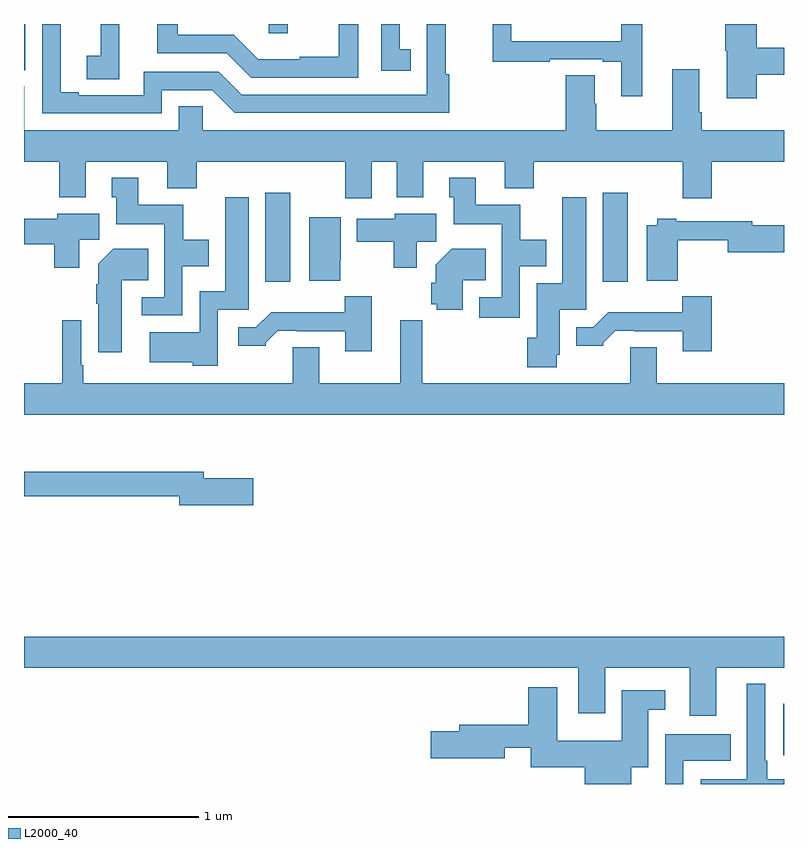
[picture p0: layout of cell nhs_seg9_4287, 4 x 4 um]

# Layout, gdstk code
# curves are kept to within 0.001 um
import gdstk
lib = gdstk.Library(unit=1e-6, precision=1e-09)
def R(c, l, rs):  # rectangles x0, y0, x1, y1
    for r in rs: c.add(gdstk.rectangle(r[:2], r[2:], *l))
def P(c, l, *ps):  # polygons
    for p in ps: c.add(gdstk.Polygon(p, *l))
L2000_40 = (2000, 40)

nhs_seg9_4287 = lib.new_cell('nhs_seg9_4287')
R(nhs_seg9_4287, L2000_40, [(360.995,1170.651,361,1170.922), (358.271,1173.144,358.402,1173.613), (360.047,1173.144,360.178,1173.613), (357,1174.257,357.006,1174.5), (358.287,1174.452,358.388,1174.5), (359.65,1174.499,360.043,1174.5)])
P(nhs_seg9_4287, L2000_40, [(358.758,1174.5),(358.657,1174.5),(358.657,1174.327),(358.451,1174.327),(358.451,1174.315),(358.232,1174.315),(358.104,1174.443),(357.808,1174.443),(357.808,1174.5),(357.701,1174.5),(357.701,1174.347),(358.068,1174.347),(358.197,1174.218),(358.758,1174.218)],
  [(357.726,1174.152),(357.99,1174.152),(358.11,1174.032),(359.237,1174.032),(359.237,1174.235),(359.22,1174.235),(359.22,1174.5),(359.12,1174.5),(359.121,1174.128),(358.146,1174.128),(358.026,1174.248),(357.63,1174.248),(357.63,1174.125),(357.289,1174.125),(357.289,1174.14),(357.193,1174.14),(357.193,1174.5),(357.096,1174.5),(357.096,1174.029),(357.726,1174.029)],
  [(360.253,1174.5),(360.144,1174.5),(360.144,1174.41),(359.565,1174.41),(359.565,1174.5),(359.467,1174.5),(359.467,1174.302),(359.768,1174.302),(359.768,1174.314),(360.047,1174.314),(360.047,1174.302),(360.143,1174.302),(360.143,1174.119),(360.253,1174.119)],
  [(360.857,1174.234),(361,1174.234),(361,1174.376),(360.857,1174.376),(360.857,1174.5),(360.691,1174.5),(360.691,1174.359),(360.698,1174.359),(360.698,1174.11),(360.857,1174.11)],
  [(357.5,1174.321),(357.502,1174.321),(357.502,1174.5),(357.404,1174.5),(357.404,1174.332),(357.33,1174.332),(357.33,1174.21),(357.5,1174.21)],
  [(359.036,1174.367),(358.978,1174.367),(358.978,1174.5),(358.881,1174.5),(358.881,1174.254),(359.036,1174.254)],
  [(358.831,1173.776),(358.961,1173.776),(358.961,1173.587),(359.101,1173.587),(359.101,1173.776),(359.531,1173.776),(359.531,1173.635),(359.684,1173.635),(359.684,1173.776),(360.467,1173.776),(360.467,1173.582),(360.62,1173.582),(360.62,1173.776),(361,1173.776),(361,1173.94),(360.566,1173.94),(360.566,1174.036),(360.553,1174.036),(360.553,1174.261),(360.413,1174.261),(360.413,1173.94),(360.012,1173.94),(360.012,1174.079),(360.004,1174.079),(360.004,1174.229),(359.852,1174.229),(359.852,1173.94),(357.942,1173.94),(357.942,1174.067),(357.815,1174.067),(357.815,1173.94),(357.001,1173.94),(357.001,1174.172),(357,1174.172),(357,1173.776),(357.185,1173.776),(357.185,1173.587),(357.325,1173.587),(357.325,1173.776),(357.755,1173.776),(357.755,1173.635),(357.908,1173.635),(357.908,1173.776),(358.691,1173.776),(358.691,1173.582),(358.831,1173.582)],
  [(357.834,1173.224),(357.973,1173.224),(357.973,1173.364),(357.837,1173.364),(357.837,1173.55),(357.601,1173.55),(357.601,1173.691),(357.461,1173.691),(357.461,1173.588),(357.485,1173.588),(357.485,1173.446),(357.738,1173.446),(357.738,1173.063),(357.621,1173.063),(357.621,1172.967),(357.834,1172.967)],
  [(359.61,1173.224),(359.749,1173.224),(359.749,1173.364),(359.613,1173.364),(359.613,1173.55),(359.377,1173.55),(359.377,1173.691),(359.237,1173.691),(359.237,1173.588),(359.261,1173.588),(359.261,1173.446),(359.514,1173.446),(359.514,1173.063),(359.397,1173.063),(359.397,1172.955),(359.61,1172.955)],
  [(359.805,1172.76),(359.821,1172.76),(359.821,1172.997),(359.959,1172.997),(359.959,1173.589),(359.834,1173.589),(359.834,1173.136),(359.699,1173.136),(359.699,1172.85),(359.648,1172.85),(359.648,1172.694),(359.805,1172.694)],
  [(358.02,1172.997),(358.183,1172.997),(358.183,1173.589),(358.058,1173.589),(358.058,1173.094),(357.924,1173.094),(357.924,1172.878),(357.663,1172.878),(357.663,1172.72),(357.888,1172.72),(357.888,1172.702),(358.02,1172.702)],
  [(357.292,1173.364),(357.397,1173.364),(357.397,1173.502),(357.174,1173.502),(357.174,1173.475),(357,1173.475),(357,1173.341),(357.158,1173.341),(357.158,1173.216),(357.292,1173.216)],
  [(359.068,1173.355),(359.17,1173.355),(359.17,1173.502),(358.95,1173.502),(358.95,1173.475),(358.751,1173.475),(358.751,1173.353),(358.946,1173.353),(358.946,1173.216),(359.068,1173.216)],
  [(358.664,1173.256),(358.666,1173.256),(358.666,1173.484),(358.502,1173.484),(358.502,1173.149),(358.664,1173.149)],
  [(360.44,1173.361),(360.704,1173.361),(360.704,1173.299),(361,1173.299),(361,1173.441),(360.832,1173.441),(360.832,1173.462),(360.433,1173.462),(360.433,1173.475),(360.333,1173.475),(360.333,1173.442),(360.278,1173.442),(360.278,1173.149),(360.44,1173.149)],
  [(357.514,1173.152),(357.653,1173.152),(357.653,1173.316),(357.47,1173.316),(357.392,1173.238),(357.392,1173.131),(357.38,1173.131),(357.38,1173.028),(357.392,1173.028),(357.392,1172.772),(357.514,1172.772)],
  [(359.308,1173.152),(359.429,1173.152),(359.429,1173.316),(359.252,1173.316),(359.168,1173.232),(359.168,1173.138),(359.143,1173.138),(359.143,1173.024),(359.172,1173.024),(359.172,1172.995),(359.308,1172.995)],
  [(358.831,1173.067),(358.689,1173.067),(358.689,1172.983),(358.3,1172.983),(358.221,1172.904),(358.128,1172.904),(358.128,1172.807),(358.272,1172.807),(358.272,1172.822),(358.336,1172.886),(358.435,1172.886),(358.435,1172.883),(358.691,1172.883),(358.691,1172.778),(358.831,1172.778)],
  [(360.62,1173.067),(360.465,1173.067),(360.465,1172.983),(360.076,1172.983),(359.997,1172.904),(359.906,1172.904),(359.906,1172.807),(360.048,1172.807),(360.048,1172.822),(360.112,1172.886),(360.211,1172.886),(360.211,1172.883),(360.467,1172.883),(360.467,1172.778),(360.62,1172.778)],
  [(361,1172.608),(360.331,1172.608),(360.331,1172.798),(360.191,1172.798),(360.191,1172.608),(359.096,1172.608),(359.096,1172.941),(358.979,1172.941),(358.979,1172.608),(358.555,1172.608),(358.555,1172.798),(358.415,1172.798),(358.415,1172.608),(357.313,1172.608),(357.313,1172.704),(357.3,1172.704),(357.3,1172.941),(357.202,1172.941),(357.202,1172.608),(357,1172.608),(357,1172.444),(361,1172.444)],
  [(358.207,1172.109),(357.946,1172.109),(357.946,1172.143),(357,1172.143),(357,1172.014),(357.818,1172.014),(357.818,1171.967),(358.207,1171.967)],
  [(360.643,1171.112),(361,1171.112),(361,1171.276),(357,1171.276),(357,1171.112),(359.918,1171.112),(359.918,1170.873),(360.058,1170.873),(360.058,1171.112),(360.503,1171.112),(360.503,1170.858),(360.643,1170.858)],
  [(361,1170.525),(360.913,1170.525),(360.913,1170.622),(360.9,1170.622),(360.9,1171.027),(360.804,1171.027),(360.804,1170.525),(360.561,1170.525),(360.561,1170.5),(361,1170.5)],
  [(360.196,1170.587),(360.286,1170.587),(360.286,1170.89),(360.376,1170.89),(360.376,1170.994),(360.146,1170.994),(360.146,1170.727),(359.806,1170.727),(359.806,1171.009),(359.654,1171.009),(359.654,1170.811),(359.291,1170.811),(359.291,1170.777),(359.142,1170.777),(359.142,1170.635),(359.53,1170.635),(359.53,1170.69),(359.666,1170.69),(359.666,1170.587),(359.951,1170.587),(359.951,1170.5),(360.196,1170.5)],
  [(360.471,1170.623),(360.719,1170.623),(360.719,1170.763),(360.374,1170.763),(360.374,1170.5),(360.471,1170.5)])

lib.write_gds('nhs_seg9_4287.gds')
